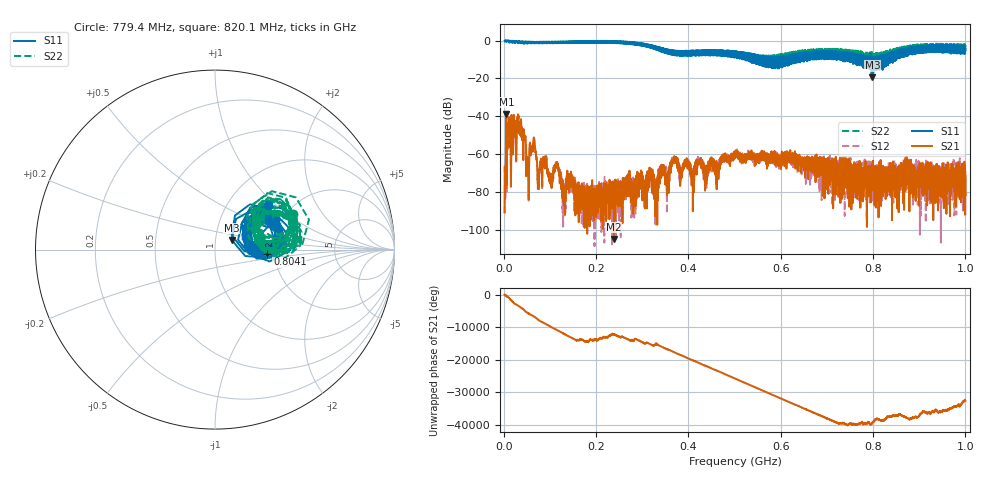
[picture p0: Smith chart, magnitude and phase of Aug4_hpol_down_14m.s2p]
!Keysight Technologies N9923A: A.12.45
!Date: Tuesday, 05 August 2025 18:14:12
!Timezone: (UTC+08:00) Kuala Lumpur, Singapore
!Model: N9923A
!Serial: MY61181427
!GPS Latitude:
!GPS Longitude:
!GPS TimeStamp: 0001-01-01 00:00:00Z
!GPS Seconds Since Last Read: 0
!CHECKSUM:2104198927
!Correction: S11(ON U)S21(ON U)S12(ON U)S22(ON U)
!S2P File: Measurements:S11,S21,S12,S22:
# Hz S DB R 50
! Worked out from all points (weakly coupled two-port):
!   4001 points, 2 MHz to 1 GHz, reference 50 ohm
!   highest |S21| = -38.77 dB at 5.742 MHz (marker M1); lowest = -105.0 dB at 238.8 MHz (marker M2)
!   lowest |S11| = -19.4 dB at 798.7 MHz (marker M3), VSWR 1.24, Z = 59.9 + j6.51 ohm
!   |S11| at or under -10 dB: 555.5886 MHz to 556.4177 MHz (829.1 kHz wide, 0.149 % of centre); 798.1536 MHz to 799.261 MHz (1.107 MHz wide, 0.139 % of centre); 799.8933 MHz to 801.0644 MHz (1.171 MHz wide, 0.146 % of centre)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
!   |S22| runs from -14.1 to 0.1 dB; largest |S21 - S12| = 0.00096
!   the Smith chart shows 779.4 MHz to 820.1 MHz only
!   S11 on the Smith chart (normalised r, x): 779.4 MHz: 1.53, +0.90; 804.1 MHz: 1.82, -0.10; 820.1 MHz: 1.68, +0.66
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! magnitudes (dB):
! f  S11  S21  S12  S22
! 2 MHz  -0.1  -90.8  -91.5  -0.1
! 5.742 MHz  -0.4  -38.8  -38.7  -0.7
! 9.735 MHz  -0.2  -43.6  -43.7  0.0
! 34.19 MHz  -0.9  -48.3  -48.0  -1.0
! 53.65 MHz  -0.5  -75.8  -72.7  -0.7
! 64.38 MHz  -1.3  -53.3  -53.3  -1.4
! 75.35 MHz  -0.8  -75.6  -72.2  -0.6
! 114.8 MHz  -1.4  -64.9  -66.4  -1.3
! 129.7 MHz  -1.3  -80.1  -77.5  -1.2
! 168.4 MHz  -1.2  -79.5  -83.8  -1.0
! 238.8 MHz  -1.2  -105.0  -79.5  -0.8
! 334.8 MHz  -4.2  -71.6  -70.7  -4.9
! 369.3 MHz  -7.0  -62.8  -65.0  -6.4
! 409.2 MHz  -6.0  -74.6  -70.5  -5.3
! 501 MHz  -6.4  -60.0  -60.9  -7.3
! 667.4 MHz  -9.1  -66.8  -64.1  -7.9
! 779.4 MHz  -8.2  -70.3  -68.2  -6.4
! 798.7 MHz  -19.4  -68.9  -79.8  -8.4
! 804.1 MHz  -10.6  -72.5  -72.0  -13.0
! 820.1 MHz  -9.3  -81.0  -80.3  -6.6
! 833.8 MHz  -9.4  -77.5  -64.9  -5.4
! 1 GHz  -2.7  -81.6  -70.6  -3.9
